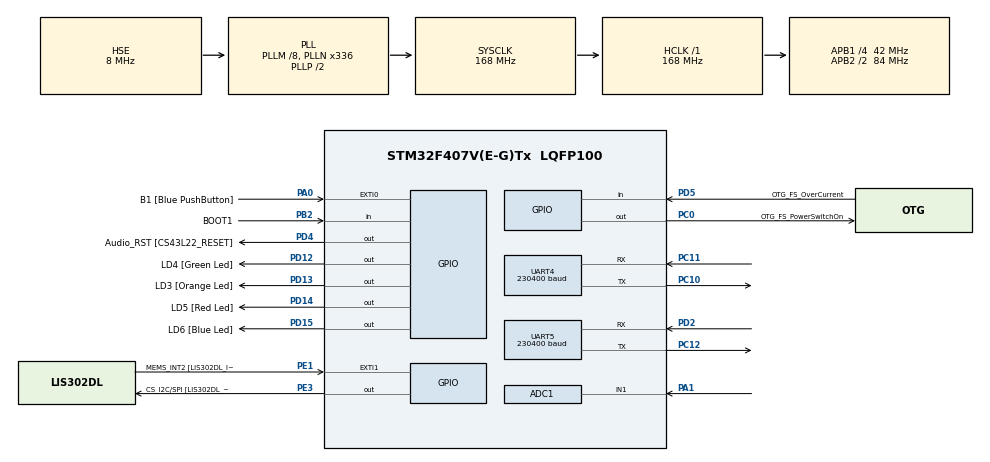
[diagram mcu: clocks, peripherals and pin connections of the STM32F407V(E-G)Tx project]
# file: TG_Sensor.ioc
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ADC1.Channel-6\#ChannelRegularConversion=ADC_CHANNEL_1
ADC1.NbrOfConversionFlag=1
ADC1.Rank-6\#ChannelRegularConversion=1
ADC1.SamplingTime-6\#ChannelRegularConversion=ADC_SAMPLETIME_3CYCLES
ADC1.master=1
Mcu.Family=STM32F4
Mcu.Name=STM32F407V(E-G)Tx
Mcu.Package=LQFP100
NVIC.PriorityGroup=NVIC_PRIORITYGROUP_0
NVIC.UART4_IRQn=true\:0\:0\:false\:false\:true\:true\:true\:true
NVIC.UART5_IRQn=true\:0\:0\:false\:false\:true\:true\:true\:true
PA0-WKUP.GPIO_Label=B1 [Blue PushButton]
PA0-WKUP.GPIO_ModeDefaultEXTI=GPIO_MODE_EVT_RISING
PA0-WKUP.GPIO_PuPd=GPIO_NOPULL
PA0-WKUP.Signal=GPXTI0
PA1.Signal=ADCx_IN1
PA10.GPIO_Label=OTG_FS_ID
PA10.GPIO_Mode=GPIO_MODE_AF_PP
PA10.GPIO_PuPd=GPIO_NOPULL
PA10.GPIO_Speed=GPIO_SPEED_FREQ_LOW
PA10.Signal=USB_OTG_FS_ID
PA11.GPIO_Label=OTG_FS_DM
PA11.GPIO_Mode=GPIO_MODE_AF_PP
PA11.GPIO_PuPd=GPIO_NOPULL
PA11.GPIO_Speed=GPIO_SPEED_FREQ_LOW
PA11.Signal=USB_OTG_FS_DM
PA12.GPIO_Label=OTG_FS_DP
PA12.GPIO_Mode=GPIO_MODE_AF_PP
PA12.GPIO_PuPd=GPIO_NOPULL
PA12.GPIO_Speed=GPIO_SPEED_FREQ_LOW
PA12.Signal=USB_OTG_FS_DP
PA13.GPIO_Label=SWDIO
PA13.Mode=Serial_Wire
PA13.Signal=SYS_JTMS-SWDIO
PA14.GPIO_Label=SWCLK
PA14.Mode=Serial_Wire
PA14.Signal=SYS_JTCK-SWCLK
PA4.GPIO_Label=I2S3_WS [CS43L22_LRCK]
PA4.GPIO_Mode=GPIO_MODE_AF_PP
PA4.GPIO_PuPd=GPIO_NOPULL
PA4.GPIO_Speed=GPIO_SPEED_FREQ_LOW
PA4.Signal=I2S3_WS
PA5.GPIO_Label=SPI1_SCK [LIS302DL_SCL/SPC]
PA5.GPIO_Mode=GPIO_MODE_AF_PP
PA5.GPIO_PuPd=GPIO_NOPULL
PA5.GPIO_Speed=GPIO_SPEED_FREQ_LOW
PA5.Signal=SPI1_SCK
PA6.GPIO_Label=SPI1_MISO [LIS302DL_SDO]
PA6.GPIO_Mode=GPIO_MODE_AF_PP
PA6.GPIO_PuPd=GPIO_NOPULL
PA6.GPIO_Speed=GPIO_SPEED_FREQ_LOW
PA6.Signal=SPI1_MISO
PA7.GPIO_Label=SPI1_MOSI [LIS302DL_SDA/SDI/SDO]
PA7.GPIO_Mode=GPIO_MODE_AF_PP
PA7.GPIO_PuPd=GPIO_NOPULL
PA7.GPIO_Speed=GPIO_SPEED_FREQ_LOW
PA7.Signal=SPI1_MOSI
PA9.GPIO_Label=VBUS_FS
PA9.GPIO_Mode=GPIO_MODE_INPUT
PA9.GPIO_PuPd=GPIO_NOPULL
PA9.Signal=USB_OTG_FS_VBUS
PB10.GPIO_Label=CLK_IN [MP45DT02_CLK]
PB10.GPIO_Mode=GPIO_MODE_AF_PP
PB10.GPIO_PuPd=GPIO_NOPULL
PB10.GPIO_Speed=GPIO_SPEED_FREQ_LOW
PB10.Signal=I2S2_CK
PB2.GPIO_Label=BOOT1
PB2.GPIO_Mode=GPIO_MODE_INPUT
PB2.GPIO_PuPd=GPIO_NOPULL
PB2.Signal=GPIO_Input
PB3.GPIO_Label=SWO
PB3.Signal=SYS_JTDO-SWO
PB6.GPIO_Label=Audio_SCL [CS43L22_SCL]
PB6.GPIO_Mode=GPIO_MODE_AF_OD
PB6.GPIO_Pu=GPIO_PULLUP
PB6.GPIO_PuPd=GPIO_NOPULL
PB6.GPIO_Speed=GPIO_SPEED_FREQ_LOW
PB6.Signal=I2C1_SCL
PB9.GPIO_Label=Audio_SDA [CS43L22_SDA]
PB9.GPIO_Mode=GPIO_MODE_AF_OD
PB9.GPIO_Pu=GPIO_PULLUP
PB9.GPIO_PuPd=GPIO_NOPULL
PB9.GPIO_Speed=GPIO_SPEED_FREQ_LOW
PB9.Signal=I2C1_SDA
PC0.GPIO_Label=OTG_FS_PowerSwitchOn
PC0.GPIO_PuPd=GPIO_NOPULL
PC0.GPIO_Speed=GPIO_SPEED_FREQ_LOW
PC0.PinState=GPIO_PIN_SET
PC0.Signal=GPIO_Output
PC10.Mode=Asynchronous
PC10.Signal=UART4_TX
PC11.Mode=Asynchronous
PC11.Signal=UART4_RX
PC12.Mode=Asynchronous
PC12.Signal=UART5_TX
PC14-OSC32_IN.GPIO_Label=PC14-OSC32_IN
PC14-OSC32_IN.Mode=LSE-External-Oscillator
PC14-OSC32_IN.Signal=RCC_OSC32_IN
PC15-OSC32_OUT.GPIO_Label=PC15-OSC32_OUT
PC15-OSC32_OUT.Mode=LSE-External-Oscillator
PC15-OSC32_OUT.Signal=RCC_OSC32_OUT
PC3.GPIO_Label=PDM_OUT [MP45DT02_DOUT]
PC3.GPIO_Mode=GPIO_MODE_AF_PP
PC3.GPIO_PuPd=GPIO_NOPULL
PC3.GPIO_Speed=GPIO_SPEED_FREQ_LOW
PC3.Signal=I2S2_SD
PC7.GPIO_Label=I2S3_MCK [CS43L22_MCLK]
PC7.GPIO_Mode=GPIO_MODE_AF_PP
PC7.GPIO_PuPd=GPIO_NOPULL
PC7.GPIO_Speed=GPIO_SPEED_FREQ_LOW
PC7.Signal=I2S3_MCK
PD12.GPIO_Label=LD4 [Green Led]
PD12.GPIO_PuPd=GPIO_NOPULL
PD12.GPIO_Speed=GPIO_SPEED_FREQ_LOW
PD12.Signal=GPIO_Output
PD13.GPIO_Label=LD3 [Orange Led]
PD13.GPIO_PuPd=GPIO_NOPULL
PD13.GPIO_Speed=GPIO_SPEED_FREQ_LOW
PD13.Signal=GPIO_Output
PD14.GPIO_Label=LD5 [Red Led]
PD14.GPIO_PuPd=GPIO_NOPULL
PD14.GPIO_Speed=GPIO_SPEED_FREQ_LOW
PD14.Signal=GPIO_Output
PD15.GPIO_Label=LD6 [Blue Led]
PD15.GPIO_PuPd=GPIO_NOPULL
PD15.GPIO_Speed=GPIO_SPEED_FREQ_LOW
PD15.Signal=GPIO_Output
PD2.Mode=Asynchronous
PD2.Signal=UART5_RX
PD4.GPIO_Label=Audio_RST [CS43L22_RESET]
PD4.GPIO_PuPd=GPIO_NOPULL
PD4.GPIO_Speed=GPIO_SPEED_FREQ_LOW
PD4.Signal=GPIO_Output
PD5.GPIO_Label=OTG_FS_OverCurrent
PD5.GPIO_Mode=GPIO_MODE_INPUT
PD5.GPIO_PuPd=GPIO_NOPULL
PD5.Signal=GPIO_Input
PE1.GPIO_Label=MEMS_INT2 [LIS302DL_INT2]
PE1.GPIO_ModeDefaultEXTI=GPIO_MODE_EVT_RISING
PE1.GPIO_PuPd=GPIO_NOPULL
PE1.Signal=GPXTI1
PE3.GPIO_Label=CS_I2C/SPI [LIS302DL_CS_I2C/SPI]
PE3.GPIO_PuPd=GPIO_NOPULL
PE3.GPIO_Speed=GPIO_SPEED_FREQ_LOW
PE3.Signal=GPIO_Output
PH0-OSC_IN.GPIO_Label=PH0-OSC_IN
PH0-OSC_IN.Mode=HSE-External-Oscillator
PH0-OSC_IN.Signal=RCC_OSC_IN
PH1-OSC_OUT.GPIO_Label=PH1-OSC_OUT
PH1-OSC_OUT.Mode=HSE-External-Oscillator
PH1-OSC_OUT.Signal=RCC_OSC_OUT
ProjectManager.HeapSize=0x200
ProjectManager.StackSize=0x400
ProjectManager.TargetToolchain=STM32CubeIDE
RCC.48MHZClocksFreq_Value=48000000
RCC.AHBFreq_Value=168000000
RCC.APB1CLKDivider=RCC_HCLK_DIV4
RCC.APB1Freq_Value=42000000
RCC.APB1TimFreq_Value=84000000
RCC.APB2CLKDivider=RCC_HCLK_DIV2
RCC.APB2Freq_Value=84000000
RCC.APB2TimFreq_Value=168000000
RCC.CortexFreq_Value=168000000
RCC.HCLKFreq_Value=168000000
RCC.HSE_VALUE=8000000
RCC.HSI_VALUE=16000000
RCC.PLLM=8
RCC.PLLN=336
RCC.PLLQ=7
RCC.PLLSourceVirtual=RCC_PLLSOURCE_HSE
RCC.SYSCLKFreq_VALUE=168000000
RCC.SYSCLKSource=RCC_SYSCLKSOURCE_PLLCLK
RCC.VCOOutputFreq_Value=336000000
SH.ADCx_IN1.0=ADC1_IN1,IN1
UART4.BaudRate=230400
UART4.VirtualMode=Asynchronous
UART5.BaudRate=230400
UART5.VirtualMode=Asynchronous
board=STM32F407G-DISC1

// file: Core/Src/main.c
/* USER CODE BEGIN Header */
/**
  ******************************************************************************
  * @file           : main.c
  * @brief          : Main program body
  ******************************************************************************
  * @attention
  *
  * Copyright (c) 2023 STMicroelectronics.
  * All rights reserved.
  *
  * This software is licensed under terms that can be found in the LICENSE file
  * in the root directory of this software component.
  * If no LICENSE file comes with this software, it is provided AS-IS.
  *
  ******************************************************************************
  */
/* USER CODE END Header */
#include "main.h"

/* USER CODE BEGIN Includes */
#include "string.h"
#include "PotSensor.h"
#include "Communication.h"
#include "Button.h"
/* USER CODE END Includes */

/* USER CODE BEGIN PD */
#define MESSAGE_RATE	10
/* USER CODE END PD */

ADC_HandleTypeDef hadc1;

UART_HandleTypeDef huart4;
UART_HandleTypeDef huart5;

/* USER CODE BEGIN PV */
static uint32_t Previous_Send_Time;

static uint8_t Buffer[BUFFER_SIZE];
/* USER CODE END PV */

void SystemClock_Config(void);
static void MX_GPIO_Init(void);
static void MX_ADC1_Init(void);
static void MX_UART5_Init(void);
static void MX_UART4_Init(void);

int main(void)
{
  /* USER CODE BEGIN 1 */
	Previous_Send_Time = 0;
  /* USER CODE END 1 */

  /* MCU Configuration--------------------------------------------------------*/

  /* Reset of all peripherals, Initializes the Flash interface and the Systick. */
  HAL_Init();

  /* Configure the system clock */
  SystemClock_Config();

  /* Initialize all configured peripherals */
  MX_GPIO_Init();
  MX_ADC1_Init();
  MX_UART5_Init();
  MX_UART4_Init();
  /* USER CODE BEGIN 2 */
  PotSensor__Initialize(&hadc1);
  Communication__Initialize(&huart5);
  Button__Initialize(B1_GPIO_Port, B1_Pin);

  // Start listening the communication bus, when a message is available it executes the callback
  Communication__ReceiveNewMessage(Buffer);
  /* USER CODE END 2 */

  /* Infinite loop */
  while (1)
  {

    /* USER CODE BEGIN 3 */
	if ((HAL_GetTick() - Previous_Send_Time) >= MESSAGE_RATE)
	{
		Communication__SendNewMessage(PotSensor__GetResistanceValue());
		Previous_Send_Time = HAL_GetTick();

	}
	if (Button__GetTransitionEvent() == EVENT_CLICK)
	{
		Communication__SendNewMessage(PotSensor__GetResistanceValue());
	}

    // Visual feedback for Analog Read and Button Read
    HAL_GPIO_WritePin(LD4_GPIO_Port, LD4_Pin, ((PotSensor__GetResistanceValue() > 5) ? GPIO_PIN_SET : GPIO_PIN_RESET));
  }
  /* USER CODE END 3 */
}

void SystemClock_Config(void)
{
  RCC_OscInitTypeDef RCC_OscInitStruct = {0};
  RCC_ClkInitTypeDef RCC_ClkInitStruct = {0};

  /** Configure the main internal regulator output voltage
  */
  __HAL_RCC_PWR_CLK_ENABLE();
  __HAL_PWR_VOLTAGESCALING_CONFIG(PWR_REGULATOR_VOLTAGE_SCALE1);

  /** Initializes the RCC Oscillators according to the specified parameters
  * in the RCC_OscInitTypeDef structure.
  */
  RCC_OscInitStruct.OscillatorType = RCC_OSCILLATORTYPE_HSE;
  RCC_OscInitStruct.HSEState = RCC_HSE_ON;
  RCC_OscInitStruct.PLL.PLLState = RCC_PLL_ON;
  RCC_OscInitStruct.PLL.PLLSource = RCC_PLLSOURCE_HSE;
  RCC_OscInitStruct.PLL.PLLM = 8;
  RCC_OscInitStruct.PLL.PLLN = 336;
  RCC_OscInitStruct.PLL.PLLP = RCC_PLLP_DIV2;
  RCC_OscInitStruct.PLL.PLLQ = 7;
  if (HAL_RCC_OscConfig(&RCC_OscInitStruct) != HAL_OK)
  {
    Error_Handler();
  }

  /** Initializes the CPU, AHB and APB buses clocks
  */
  RCC_ClkInitStruct.ClockType = RCC_CLOCKTYPE_HCLK|RCC_CLOCKTYPE_SYSCLK
                              |RCC_CLOCKTYPE_PCLK1|RCC_CLOCKTYPE_PCLK2;
  RCC_ClkInitStruct.SYSCLKSource = RCC_SYSCLKSOURCE_PLLCLK;
  RCC_ClkInitStruct.AHBCLKDivider = RCC_SYSCLK_DIV1;
  RCC_ClkInitStruct.APB1CLKDivider = RCC_HCLK_DIV4;
  RCC_ClkInitStruct.APB2CLKDivider = RCC_HCLK_DIV2;

  if (HAL_RCC_ClockConfig(&RCC_ClkInitStruct, FLASH_LATENCY_5) != HAL_OK)
  {
    Error_Handler();
  }
}

static void MX_ADC1_Init(void)
{

  ADC_ChannelConfTypeDef sConfig = {0};

  /** Configure the global features of the ADC (Clock, Resolution, Data Alignment and number of conversion)
  */
  hadc1.Instance = ADC1;
  hadc1.Init.ClockPrescaler = ADC_CLOCK_SYNC_PCLK_DIV4;
  hadc1.Init.Resolution = ADC_RESOLUTION_12B;
  hadc1.Init.ScanConvMode = DISABLE;
  hadc1.Init.ContinuousConvMode = DISABLE;
  hadc1.Init.DiscontinuousConvMode = DISABLE;
  hadc1.Init.ExternalTrigConvEdge = ADC_EXTERNALTRIGCONVEDGE_NONE;
  hadc1.Init.ExternalTrigConv = ADC_SOFTWARE_START;
  hadc1.Init.DataAlign = ADC_DATAALIGN_RIGHT;
  hadc1.Init.NbrOfConversion = 1;
  hadc1.Init.DMAContinuousRequests = DISABLE;
  hadc1.Init.EOCSelection = ADC_EOC_SINGLE_CONV;
  if (HAL_ADC_Init(&hadc1) != HAL_OK)
  {
    Error_Handler();
  }

  /** Configure for the selected ADC regular channel its corresponding rank in the sequencer and its sample time.
  */
  sConfig.Channel = ADC_CHANNEL_1;
  sConfig.Rank = 1;
  sConfig.SamplingTime = ADC_SAMPLETIME_3CYCLES;
  if (HAL_ADC_ConfigChannel(&hadc1, &sConfig) != HAL_OK)
  {
    Error_Handler();
  }

}

static void MX_UART4_Init(void)
{

  huart4.Instance = UART4;
  huart4.Init.BaudRate = 230400;
  huart4.Init.WordLength = UART_WORDLENGTH_8B;
  huart4.Init.StopBits = UART_STOPBITS_1;
  huart4.Init.Parity = UART_PARITY_NONE;
  huart4.Init.Mode = UART_MODE_TX_RX;
  huart4.Init.HwFlowCtl = UART_HWCONTROL_NONE;
  huart4.Init.OverSampling = UART_OVERSAMPLING_16;
  if (HAL_UART_Init(&huart4) != HAL_OK)
  {
    Error_Handler();
  }

}

static void MX_UART5_Init(void)
{

  huart5.Instance = UART5;
  huart5.Init.BaudRate = 230400;
  huart5.Init.WordLength = UART_WORDLENGTH_8B;
  huart5.Init.StopBits = UART_STOPBITS_1;
  huart5.Init.Parity = UART_PARITY_NONE;
  huart5.Init.Mode = UART_MODE_TX_RX;
  huart5.Init.HwFlowCtl = UART_HWCONTROL_NONE;
  huart5.Init.OverSampling = UART_OVERSAMPLING_16;
  if (HAL_UART_Init(&huart5) != HAL_OK)
  {
    Error_Handler();
  }

}

static void MX_GPIO_Init(void)
{
  GPIO_InitTypeDef GPIO_InitStruct = {0};

  /* GPIO Ports Clock Enable */
  __HAL_RCC_GPIOE_CLK_ENABLE();
  __HAL_RCC_GPIOC_CLK_ENABLE();
  __HAL_RCC_GPIOH_CLK_ENABLE();
  __HAL_RCC_GPIOA_CLK_ENABLE();
  __HAL_RCC_GPIOB_CLK_ENABLE();
  __HAL_RCC_GPIOD_CLK_ENABLE();

  /*Configure GPIO pin Output Level */
  HAL_GPIO_WritePin(CS_I2C_SPI_GPIO_Port, CS_I2C_SPI_Pin, GPIO_PIN_RESET);

  /*Configure GPIO pin Output Level */
  HAL_GPIO_WritePin(OTG_FS_PowerSwitchOn_GPIO_Port, OTG_FS_PowerSwitchOn_Pin, GPIO_PIN_SET);

  /*Configure GPIO pin Output Level */
  HAL_GPIO_WritePin(GPIOD, LD4_Pin|LD3_Pin|LD5_Pin|LD6_Pin
                          |Audio_RST_Pin, GPIO_PIN_RESET);

  /*Configure GPIO pin : CS_I2C_SPI_Pin */
  GPIO_InitStruct.Pin = CS_I2C_SPI_Pin;
  GPIO_InitStruct.Mode = GPIO_MODE_OUTPUT_PP;
  GPIO_InitStruct.Pull = GPIO_NOPULL;
  GPIO_InitStruct.Speed = GPIO_SPEED_FREQ_LOW;
  HAL_GPIO_Init(CS_I2C_SPI_GPIO_Port, &GPIO_InitStruct);

  /*Configure GPIO pin : OTG_FS_PowerSwitchOn_Pin */
  GPIO_InitStruct.Pin = OTG_FS_PowerSwitchOn_Pin;
  GPIO_InitStruct.Mode = GPIO_MODE_OUTPUT_PP;
  GPIO_InitStruct.Pull = GPIO_NOPULL;
  GPIO_InitStruct.Speed = GPIO_SPEED_FREQ_LOW;
  HAL_GPIO_Init(OTG_FS_PowerSwitchOn_GPIO_Port, &GPIO_InitStruct);

  /*Configure GPIO pin : PDM_OUT_Pin */
  GPIO_InitStruct.Pin = PDM_OUT_Pin;
  GPIO_InitStruct.Mode = GPIO_MODE_AF_PP;
  GPIO_InitStruct.Pull = GPIO_NOPULL;
  GPIO_InitStruct.Speed = GPIO_SPEED_FREQ_LOW;
  GPIO_InitStruct.Alternate = GPIO_AF5_SPI2;
  HAL_GPIO_Init(PDM_OUT_GPIO_Port, &GPIO_InitStruct);

  /*Configure GPIO pin : B1_Pin */
  GPIO_InitStruct.Pin = B1_Pin;
  GPIO_InitStruct.Mode = GPIO_MODE_EVT_RISING;
  GPIO_InitStruct.Pull = GPIO_NOPULL;
  HAL_GPIO_Init(B1_GPIO_Port, &GPIO_InitStruct);

  /*Configure GPIO pin : I2S3_WS_Pin */
  GPIO_InitStruct.Pin = I2S3_WS_Pin;
  GPIO_InitStruct.Mode = GPIO_MODE_AF_PP;
  GPIO_InitStruct.Pull = GPIO_NOPULL;
  GPIO_InitStruct.Speed = GPIO_SPEED_FREQ_LOW;
  GPIO_InitStruct.Alternate = GPIO_AF6_SPI3;
  HAL_GPIO_Init(I2S3_WS_GPIO_Port, &GPIO_InitStruct);

  /*Configure GPIO pins : SPI1_SCK_Pin SPI1_MISO_Pin SPI1_MOSI_Pin */
  GPIO_InitStruct.Pin = SPI1_SCK_Pin|SPI1_MISO_Pin|SPI1_MOSI_Pin;
  GPIO_InitStruct.Mode = GPIO_MODE_AF_PP;
  GPIO_InitStruct.Pull = GPIO_NOPULL;
  GPIO_InitStruct.Speed = GPIO_SPEED_FREQ_LOW;
  GPIO_InitStruct.Alternate = GPIO_AF5_SPI1;
  HAL_GPIO_Init(GPIOA, &GPIO_InitStruct);

  /*Configure GPIO pin : BOOT1_Pin */
  GPIO_InitStruct.Pin = BOOT1_Pin;
  GPIO_InitStruct.Mode = GPIO_MODE_INPUT;
  GPIO_InitStruct.Pull = GPIO_NOPULL;
  HAL_GPIO_Init(BOOT1_GPIO_Port, &GPIO_InitStruct);

  /*Configure GPIO pin : CLK_IN_Pin */
  GPIO_InitStruct.Pin = CLK_IN_Pin;
  GPIO_InitStruct.Mode = GPIO_MODE_AF_PP;
  GPIO_InitStruct.Pull = GPIO_NOPULL;
  GPIO_InitStruct.Speed = GPIO_SPEED_FREQ_LOW;
  GPIO_InitStruct.Alternate = GPIO_AF5_SPI2;
  HAL_GPIO_Init(CLK_IN_GPIO_Port, &GPIO_InitStruct);

  /*Configure GPIO pins : LD4_Pin LD3_Pin LD5_Pin LD6_Pin
                           Audio_RST_Pin */
  GPIO_InitStruct.Pin = LD4_Pin|LD3_Pin|LD5_Pin|LD6_Pin
                          |Audio_RST_Pin;
  GPIO_InitStruct.Mode = GPIO_MODE_OUTPUT_PP;
  GPIO_InitStruct.Pull = GPIO_NOPULL;
  GPIO_InitStruct.Speed = GPIO_SPEED_FREQ_LOW;
  HAL_GPIO_Init(GPIOD, &GPIO_InitStruct);

  /*Configure GPIO pin : I2S3_MCK_Pin */
  GPIO_InitStruct.Pin = I2S3_MCK_Pin;
  GPIO_InitStruct.Mode = GPIO_MODE_AF_PP;
  GPIO_InitStruct.Pull = GPIO_NOPULL;
  GPIO_InitStruct.Speed = GPIO_SPEED_FREQ_LOW;
  GPIO_InitStruct.Alternate = GPIO_AF6_SPI3;
  HAL_GPIO_Init(I2S3_MCK_GPIO_Port, &GPIO_InitStruct);

  /*Configure GPIO pin : VBUS_FS_Pin */
  GPIO_InitStruct.Pin = VBUS_FS_Pin;
  GPIO_InitStruct.Mode = GPIO_MODE_INPUT;
  GPIO_InitStruct.Pull = GPIO_NOPULL;
  HAL_GPIO_Init(VBUS_FS_GPIO_Port, &GPIO_InitStruct);

  /*Configure GPIO pins : OTG_FS_ID_Pin OTG_FS_DM_Pin OTG_FS_DP_Pin */
  GPIO_InitStruct.Pin = OTG_FS_ID_Pin|OTG_FS_DM_Pin|OTG_FS_DP_Pin;
  GPIO_InitStruct.Mode = GPIO_MODE_AF_PP;
  GPIO_InitStruct.Pull = GPIO_NOPULL;
  GPIO_InitStruct.Speed = GPIO_SPEED_FREQ_LOW;
  GPIO_InitStruct.Alternate = GPIO_AF10_OTG_FS;
  HAL_GPIO_Init(GPIOA, &GPIO_InitStruct);

  /*Configure GPIO pin : OTG_FS_OverCurrent_Pin */
  GPIO_InitStruct.Pin = OTG_FS_OverCurrent_Pin;
  GPIO_InitStruct.Mode = GPIO_MODE_INPUT;
  GPIO_InitStruct.Pull = GPIO_NOPULL;
  HAL_GPIO_Init(OTG_FS_OverCurrent_GPIO_Port, &GPIO_InitStruct);

  /*Configure GPIO pins : Audio_SCL_Pin Audio_SDA_Pin */
  GPIO_InitStruct.Pin = Audio_SCL_Pin|Audio_SDA_Pin;
  GPIO_InitStruct.Mode = GPIO_MODE_AF_OD;
  GPIO_InitStruct.Pull = GPIO_PULLUP;
  GPIO_InitStruct.Speed = GPIO_SPEED_FREQ_LOW;
  GPIO_InitStruct.Alternate = GPIO_AF4_I2C1;
  HAL_GPIO_Init(GPIOB, &GPIO_InitStruct);

  /*Configure GPIO pin : MEMS_INT2_Pin */
  GPIO_InitStruct.Pin = MEMS_INT2_Pin;
  GPIO_InitStruct.Mode = GPIO_MODE_EVT_RISING;
  GPIO_InitStruct.Pull = GPIO_NOPULL;
  HAL_GPIO_Init(MEMS_INT2_GPIO_Port, &GPIO_InitStruct);

}

/* USER CODE BEGIN 4 */

// Callback function that runs when a new message is available
void HAL_UART_RxCpltCallback(UART_HandleTypeDef *huart)
{
	if(huart->Instance == UART5){
		//Check if the EV asked for a new measurement
		if (Buffer[0] == 0xFF)
		{
			Communication__SendNewMessage(PotSensor__GetResistanceValue());
		}
		//After treating the message, start listening again
		Communication__ReceiveNewMessage(Buffer);
	}
}

/* USER CODE END 4 */

void Error_Handler(void)
{
  __disable_irq();
  while (1)
  {
  }
}
